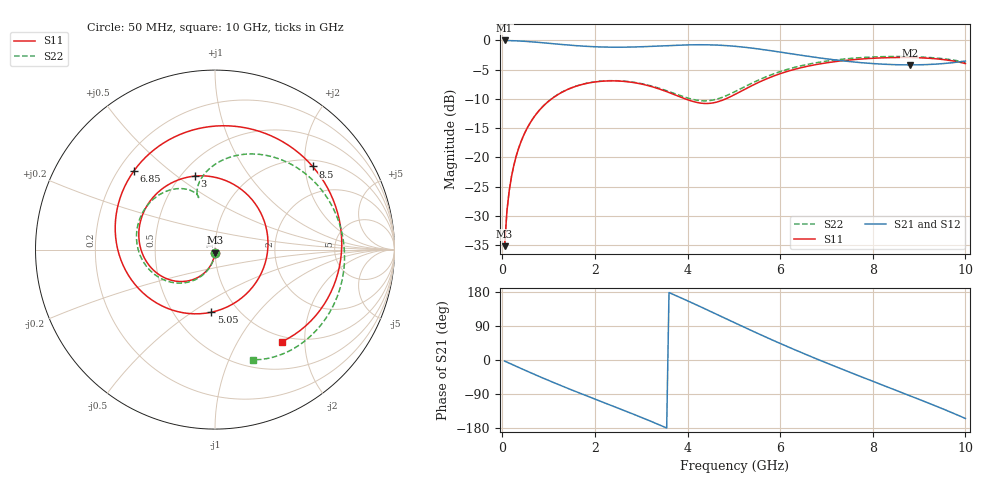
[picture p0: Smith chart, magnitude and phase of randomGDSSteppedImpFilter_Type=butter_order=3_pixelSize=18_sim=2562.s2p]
! freq	dB(S11)	phase(S11)	dB(S12)	phase(S12)
!  dB(S21)	phase(S21)	dB(S22)	phase(S22)
!S-par simulation data
#  GHz  S  DB  R 50
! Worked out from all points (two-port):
!   200 points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, 50 MHz to 10 GHz, reference 50 ohm
!   highest |S21| = -0.01 dB at 50 MHz (marker M1); lowest = -4.2 dB at 8.8 GHz (marker M2)
!   |S21| within 3 dB of the highest: start of sweep to 6.865 GHz
!   lowest |S11| = -35.2 dB at 50 MHz (marker M3), VSWR 1.04, Z = 49.9 - j1.74 ohm
!   |S11| at or under -10 dB: start of sweep to 1.062 GHz; 3.954 GHz to 4.821 GHz (867.4 MHz wide, 19.8 % of centre)
!   |S22| runs from -35.2 to -2.7 dB; largest |S21 - S12| = 0
!   S11 on the Smith chart (normalised r, x): 50 MHz: 1.00, -0.03; 3 GHz: 0.58, +0.58; 5.05 GHz: 0.75, -0.60; 6.85 GHz: 0.26, +0.38; 8.5 GHz: 1.16, +2.19; 10 GHz: 0.91, -1.56
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0.05  -35.16 -92.8  -0.01 -2.8  -0.01 -2.8  -35.16 -92.6
0.1  -29.16 -95.8  -0.02 -5.6  -0.02 -5.6  -29.16 -95.5
0.2  -23.21 -101.7  -0.04 -11.2  -0.04 -11.2  -23.21 -101.1
0.5  -15.57 -118.8  -0.16 -27.6  -0.16 -27.6  -15.56 -117.4
1.1  -9.78 -151.4  -0.56 -59.1  -0.56 -59.1  -9.77 -147.9
1.75  -7.47 174.7  -0.98 -91.2  -0.98 -91.2  -7.45 -178.1
2.35  -6.91 143.0  -1.16 -119.7  -1.16 -119.7  -6.88 156.5
3  -7.44 105.1  -1.08 -151.3  -1.08 -151.3  -7.37 131.7
3.4  -8.33 77.6  -0.95 -171.6  -0.95 -171.6  -8.20 119.1
3.85  -9.69 39.5  -0.80 164.5  -0.80 164.5  -9.45 109.6
4.25  -10.67 -2.8  -0.74 142.2  -0.74 142.2  -10.27 107.3
5.05  -9.13 -93.4  -1.02 96.4  -1.02 96.4  -8.65 104.8
5.45  -7.49 -129.5  -1.37 73.8  -1.37 73.8  -7.07 95.4
5.95  -5.82 -167.0  -1.93 46.4  -1.93 46.4  -5.46 78.2
6.7  -4.24 145.0  -2.82 7.3  -2.82 7.3  -3.93 48.5
6.85  -4.02 136.0  -2.99 -0.2  -2.99 -0.2  -3.72 42.5
7.6  -3.27 92.3  -3.69 -37.0  -3.69 -37.0  -3.02 13.2
8.35  -2.94 49.1  -4.11 -72.8  -4.11 -72.8  -2.75 -14.5
8.5  -2.92 40.4  -4.15 -79.9  -4.15 -79.9  -2.74 -19.8
8.8  -2.92 22.8  -4.18 -94.2  -4.18 -94.2  -2.77 -30.3
9.4  -3.17 -13.8  -4.03 -123.4  -4.03 -123.4  -3.03 -50.8
10  -3.96 -54.0  -3.52 -154.3  -3.52 -154.3  -3.75 -71.0
